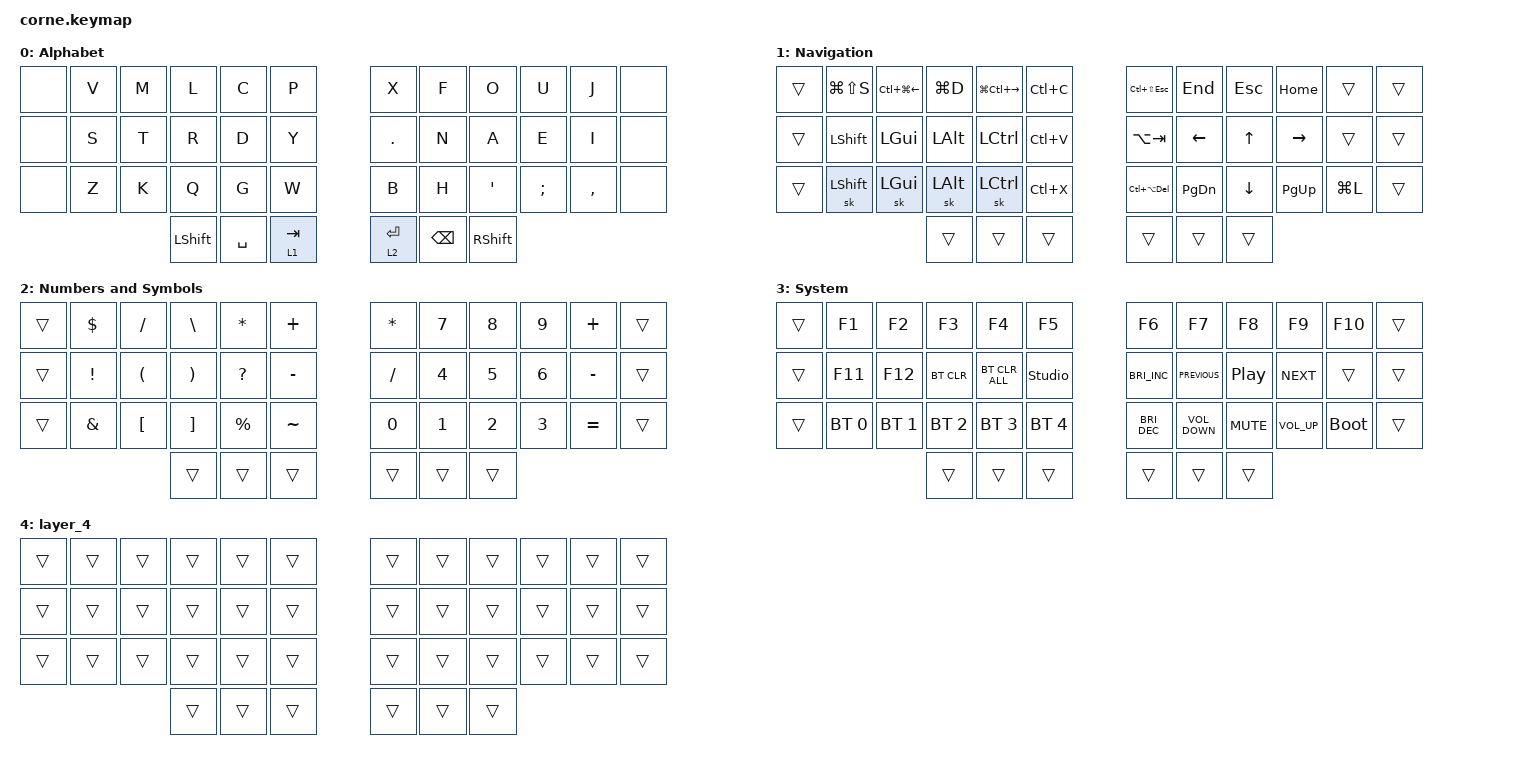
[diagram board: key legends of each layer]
#include <behaviors.dtsi>
#include <dt-bindings/zmk/bt.h>
#include <dt-bindings/zmk/keys.h>

#define DEF 0
#define NAV 1
#define SYM 2
#define ADJ 3
#define EXTRA 4

//testing mouse movement and scroll binds...

/ {
    behaviors {
        hm: homerow_mods {
            compatible = "zmk,behavior-hold-tap";
            label = "HOMEROW_MODS";
            #binding-cells = <2>;
            tapping-term-ms = <500>;
            quick_tap_ms = <0>;
            flavor = "tap-preferred";
            bindings = <&kp>, <&kp>;

            quick-tap-ms = <200>;
            global-quick-tap;
        };

        para: para {
            compatible = "zmk,behavior-tap-dance";
            label = "PARA";
            #binding-cells = <0>;
            bindings = <&kp LEFT_PARENTHESIS>, <&kp RIGHT_PARENTHESIS>;
        };

        caps: caps {
            compatible = "zmk,behavior-caps-word";
            label = "CAPS";
            #binding-cells = <0>;
            continue-list = <MINUS BACKSPACE>;
        };

        paraless: paraless {
            compatible = "zmk,behavior-mod-morph";
            label = "PARALESS";
            bindings = <&kp LEFT_PARENTHESIS>, <&kp LESS_THAN>;

            #binding-cells = <0>;
            mods = <(MOD_LSFT)>;
        };

        paragreat: paragreat {
            compatible = "zmk,behavior-mod-morph";
            label = "PARAGREAT";
            bindings = <&kp RIGHT_PARENTHESIS>, <&kp GREATER_THAN>;

            #binding-cells = <0>;
            mods = <(MOD_LSFT)>;
        };
    };

    combos {
        compatible = "zmk,combos";

        Control {
            bindings = <&kp LEFT_CONTROL>;
            key-positions = <15 16>;
        };

        Alt {
            bindings = <&kp LEFT_ALT>;
            key-positions = <14 15>;
        };

        Window {
            bindings = <&kp LEFT_GUI>;
            key-positions = <12 13>;
        };
    };

    //

    keymap {
        compatible = "zmk,keymap";

        Abc {
            display-name = "Alphabet";

            // -----------------------------------------------------------------------------------------
            // |  Q  |  W  |  E  |  R  |  T  |   |  Y  |  U   |  I  |  O  |  P  |
            // |  A  |  S  |  D  |  F  |  G  |   |  H  |  J   |  K  |  L  |  ;  |
            // |  Z  |  X  |  C  |  V  |  B  |   |  N  |  M   |  ,  |  .  |  /  |
            // | GUI | CTRL | SHFT | LWR | SPC |   | ENT | RSE  | BKSP | ALT | ESC |

            bindings = <
&none  &kp V  &kp M  &kp L           &kp C      &kp P        &kp X        &kp F          &kp O            &kp U     &kp J      &none
&none  &kp S  &kp T  &kp R           &kp D      &kp Y        &kp DOT      &kp N          &kp A            &kp E     &kp I      &none
&none  &kp Z  &kp K  &kp Q           &kp G      &kp W        &kp B        &kp H          &kp APOS         &kp SEMI  &kp COMMA  &none
                     &kp LEFT_SHIFT  &kp SPACE  &lt 1 TAB    &lt 2 ENTER  &kp BACKSPACE  &kp RIGHT_SHIFT
            >;
        };

        Nav {
            display-name = "Navigation";

            // -----------------------------------------------------------------------------------------
            // |  TAB |  1  |  2  |  3  |  4  |  5  |   |  6  |  7  |  8  |  9  |  0  | BKSP |
            // | BTCLR| BT1 | BT2 | BT3 | BT4 | BT5 |   | LFT | DWN |  UP | RGT |     |      |
            // | SHFT |     |     |     |     |     |   |     |     |     |     |     |      |
            // | GUI | CTRL | SHFT | LWR | SPC |   | ENT | RSE  | BKSP | ALT | ESC |

            bindings = <
&trans  &kp LG(LS(S))   &kp LC(LG(LEFT))  &kp LG(D)     &kp LG(LC(RIGHT))  &kp LC(C)    &kp LC(LS(ESCAPE))  &kp END        &kp ESCAPE    &kp HOME     &trans     &trans
&trans  &kp LEFT_SHIFT  &kp LEFT_GUI      &kp LEFT_ALT  &kp LEFT_CONTROL   &kp LC(V)    &kp LA(TAB)         &kp LEFT       &kp UP_ARROW  &kp RIGHT    &trans     &trans
&trans  &sk LEFT_SHIFT  &sk LEFT_GUI      &sk LEFT_ALT  &sk LEFT_CONTROL   &kp LC(X)    &kp LC(LA(DELETE))  &kp PAGE_DOWN  &kp DOWN      &kp PAGE_UP  &kp LG(L)  &trans
                                          &trans        &trans             &trans       &trans              &trans         &trans
            >;
        };

        Num {
            display-name = "Numbers and Symbols";

            // -----------------------------------------------------------------------------------------
            // |  TAB |  !  |  @  |  #  |  $  |  %  |   |  ^  |  &  |  *  |  (  |  )  | BKSP |
            // | CTRL |     |     |     |     |     |   |  -  |  =  |  [  |  ]  |  \  |  `   |
            // | SHFT |     |     |     |     |     |   |  _  |  +  |  {  |  }  | "|" |  ~   |
            //                    | GUI |     | SPC |   | ENT |     | ALT |

            bindings = <
&trans  &kp DOLLAR       &kp SLASH             &kp BACKSLASH          &kp ASTERISK  &kp PLUS     &kp ASTERISK  &kp N7        &kp N8        &kp N9        &kp PLUS   &trans
&trans  &kp EXCLAMATION  &kp LEFT_PARENTHESIS  &kp RIGHT_PARENTHESIS  &kp QUESTION  &kp MINUS    &kp SLASH     &kp NUMBER_4  &kp N5        &kp NUMBER_6  &kp MINUS  &trans
&trans  &kp AMPERSAND    &kp LEFT_BRACKET      &kp RIGHT_BRACKET      &kp PERCENT   &kp TILDE    &kp N0        &kp NUMBER_1  &kp NUMBER_2  &kp NUMBER_3  &kp EQUAL  &trans
                                               &trans                 &trans        &trans       &trans        &trans        &trans
            >;
        };

        Sys {
            display-name = "System";
            bindings = <
&trans  &kp F1        &kp F2        &kp F3        &kp F4          &kp F5            &kp F6                &kp F7             &kp F8            &kp F9           &kp F10      &trans
&trans  &kp F11       &kp F12       &bt BT_CLR    &bt BT_CLR_ALL  &studio_unlock    &kp C_BRIGHTNESS_INC  &kp C_PREVIOUS     &kp C_PLAY_PAUSE  &kp C_NEXT       &trans       &trans
&trans  &bt BT_SEL 0  &bt BT_SEL 1  &bt BT_SEL 2  &bt BT_SEL 3    &bt BT_SEL 4      &kp C_BRIGHTNESS_DEC  &kp C_VOLUME_DOWN  &kp C_MUTE        &kp C_VOLUME_UP  &bootloader  &trans
                                    &trans        &trans          &trans            &trans                &trans             &trans
            >;
        };

        layer_4 {
            bindings = <
&trans  &trans  &trans  &trans  &trans  &trans    &trans  &trans  &trans  &trans  &trans  &trans
&trans  &trans  &trans  &trans  &trans  &trans    &trans  &trans  &trans  &trans  &trans  &trans
&trans  &trans  &trans  &trans  &trans  &trans    &trans  &trans  &trans  &trans  &trans  &trans
                        &trans  &trans  &trans    &trans  &trans  &trans
            >;
        };
    };

    conditional_layers {
        compatible = "zmk,conditional-layers";

        Additional {
            if-layers = <3 1>;
            then-layer = <4>;
        };

        alt {
            if-layers = <1 3>;
            then-layer = <4>;
        };
    };
};
